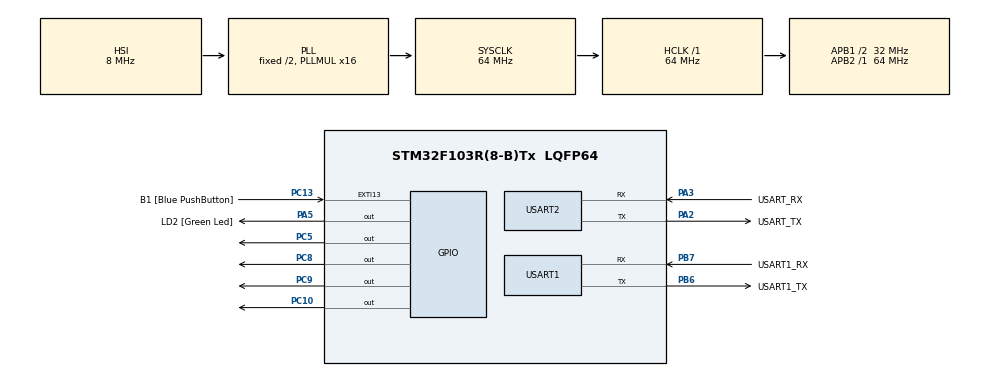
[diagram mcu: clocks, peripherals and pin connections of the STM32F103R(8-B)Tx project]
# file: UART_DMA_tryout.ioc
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Dma.Request0=USART2_RX
Dma.Request1=USART2_TX
Dma.Request2=USART1_RX
Dma.Request3=USART1_TX
Dma.USART1_RX.2.Direction=DMA_PERIPH_TO_MEMORY
Dma.USART1_RX.2.Instance=DMA1_Channel5
Dma.USART1_RX.2.MemDataAlignment=DMA_MDATAALIGN_BYTE
Dma.USART1_RX.2.MemInc=DMA_MINC_ENABLE
Dma.USART1_RX.2.Mode=DMA_NORMAL
Dma.USART1_RX.2.PeriphDataAlignment=DMA_PDATAALIGN_BYTE
Dma.USART1_RX.2.PeriphInc=DMA_PINC_DISABLE
Dma.USART1_RX.2.Priority=DMA_PRIORITY_LOW
Dma.USART1_TX.3.Direction=DMA_MEMORY_TO_PERIPH
Dma.USART1_TX.3.Instance=DMA1_Channel4
Dma.USART1_TX.3.MemDataAlignment=DMA_MDATAALIGN_BYTE
Dma.USART1_TX.3.MemInc=DMA_MINC_ENABLE
Dma.USART1_TX.3.Mode=DMA_NORMAL
Dma.USART1_TX.3.PeriphDataAlignment=DMA_PDATAALIGN_BYTE
Dma.USART1_TX.3.PeriphInc=DMA_PINC_DISABLE
Dma.USART1_TX.3.Priority=DMA_PRIORITY_LOW
Dma.USART2_RX.0.Direction=DMA_PERIPH_TO_MEMORY
Dma.USART2_RX.0.Instance=DMA1_Channel6
Dma.USART2_RX.0.MemDataAlignment=DMA_MDATAALIGN_BYTE
Dma.USART2_RX.0.MemInc=DMA_MINC_ENABLE
Dma.USART2_RX.0.Mode=DMA_NORMAL
Dma.USART2_RX.0.PeriphDataAlignment=DMA_PDATAALIGN_BYTE
Dma.USART2_RX.0.PeriphInc=DMA_PINC_DISABLE
Dma.USART2_RX.0.Priority=DMA_PRIORITY_LOW
Dma.USART2_TX.1.Direction=DMA_MEMORY_TO_PERIPH
Dma.USART2_TX.1.Instance=DMA1_Channel7
Dma.USART2_TX.1.MemDataAlignment=DMA_MDATAALIGN_BYTE
Dma.USART2_TX.1.MemInc=DMA_MINC_ENABLE
Dma.USART2_TX.1.Mode=DMA_NORMAL
Dma.USART2_TX.1.PeriphDataAlignment=DMA_PDATAALIGN_BYTE
Dma.USART2_TX.1.PeriphInc=DMA_PINC_DISABLE
Dma.USART2_TX.1.Priority=DMA_PRIORITY_LOW
Mcu.Family=STM32F1
Mcu.Name=STM32F103R(8-B)Tx
Mcu.Package=LQFP64
NVIC.DMA1_Channel4_IRQn=true\:0\:0\:false\:false\:true\:false
NVIC.DMA1_Channel5_IRQn=true\:0\:0\:false\:false\:true\:false
NVIC.DMA1_Channel6_IRQn=true\:0\:0\:false\:false\:true\:false
NVIC.DMA1_Channel7_IRQn=true\:0\:0\:false\:false\:true\:false
NVIC.PriorityGroup=NVIC_PRIORITYGROUP_4
NVIC.USART1_IRQn=true\:0\:0\:false\:false\:true\:true
NVIC.USART2_IRQn=true\:0\:0\:false\:false\:true\:true
PA13.GPIO_Label=TMS
PA13.Mode=Serial_Wire
PA13.Signal=SYS_JTMS-SWDIO
PA14.GPIO_Label=TCK
PA14.Mode=Serial_Wire
PA14.Signal=SYS_JTCK-SWCLK
PA2.GPIO_Label=USART_TX
PA2.GPIO_Mode=GPIO_MODE_AF_PP
PA2.GPIO_PuPd=GPIO_NOPULL
PA2.GPIO_Speed=GPIO_SPEED_FREQ_LOW
PA2.Mode=Asynchronous
PA2.Signal=USART2_TX
PA3.GPIO_Label=USART_RX
PA3.GPIO_Mode=GPIO_MODE_AF_PP
PA3.GPIO_PuPd=GPIO_NOPULL
PA3.GPIO_Speed=GPIO_SPEED_FREQ_LOW
PA3.Mode=Asynchronous
PA3.Signal=USART2_RX
PA5.GPIO_Label=LD2 [Green Led]
PA5.GPIO_ModeDefaultOutputPP=GPIO_MODE_OUTPUT_PP
PA5.GPIO_PuPd=GPIO_NOPULL
PA5.GPIO_Speed=GPIO_SPEED_FREQ_LOW
PA5.Signal=GPIO_Output
PB3.GPIO_Label=SWO
PB3.Signal=SYS_JTDO-TRACESWO
PB6.GPIO_Label=USART1_TX
PB6.GPIO_Speed=GPIO_SPEED_FREQ_LOW
PB6.Mode=Asynchronous
PB6.Signal=USART1_TX
PB7.GPIO_Label=USART1_RX
PB7.Mode=Asynchronous
PB7.Signal=USART1_RX
PC10.Signal=GPIO_Output
PC13-TAMPER-RTC.GPIO_Label=B1 [Blue PushButton]
PC13-TAMPER-RTC.GPIO_PuPd=GPIO_NOPULL
PC13-TAMPER-RTC.Signal=GPXTI13
PC14-OSC32_IN.Mode=LSE-External-Oscillator
PC14-OSC32_IN.Signal=RCC_OSC32_IN
PC15-OSC32_OUT.Mode=LSE-External-Oscillator
PC15-OSC32_OUT.Signal=RCC_OSC32_OUT
PC5.Signal=GPIO_Output
PC8.Signal=GPIO_Output
PC9.Signal=GPIO_Output
PD0-OSC_IN.Mode=HSE-External-Clock-Source
PD0-OSC_IN.Signal=RCC_OSC_IN
PD1-OSC_OUT.Mode=HSE-External-Clock-Source
PD1-OSC_OUT.Signal=RCC_OSC_OUT
ProjectManager.HeapSize=0x200
ProjectManager.StackSize=0x400
ProjectManager.TargetToolchain=Makefile
RCC.AHBFreq_Value=64000000
RCC.APB1CLKDivider=RCC_HCLK_DIV2
RCC.APB1Freq_Value=32000000
RCC.APB1TimFreq_Value=64000000
RCC.APB2Freq_Value=64000000
RCC.APB2TimFreq_Value=64000000
RCC.HCLKFreq_Value=64000000
RCC.PLLMUL=RCC_PLL_MUL16
RCC.RTCClockSelection=RCC_RTCCLKSOURCE_LSE
RCC.SYSCLKFreq_VALUE=64000000
RCC.SYSCLKSource=RCC_SYSCLKSOURCE_PLLCLK
RCC.USBFreq_Value=64000000
USART1.VirtualMode=VM_ASYNC
USART2.VirtualMode=VM_ASYNC
board=NUCLEO-F103RB

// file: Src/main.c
/**
  ******************************************************************************
  * @file           : main.c
  * @brief          : Main program body
  ******************************************************************************
  ** This notice applies to any and all portions of this file
  * that are not between comment pairs USER CODE BEGIN and
  * USER CODE END. Other portions of this file, whether
  * inserted by the user or by software development tools
  * are owned by their respective copyright owners.
  *
  * COPYRIGHT(c) 2019 STMicroelectronics
  *
  * Redistribution and use in source and binary forms, with or without modification,
  * are permitted provided that the following conditions are met:
  *   1. Redistributions of source code must retain the above copyright notice,
  *      this list of conditions and the following disclaimer.
  *   2. Redistributions in binary form must reproduce the above copyright notice,
  *      this list of conditions and the following disclaimer in the documentation
  *      and/or other materials provided with the distribution.
  *   3. Neither the name of STMicroelectronics nor the names of its contributors
  *      may be used to endorse or promote products derived from this software
  *      without specific prior written permission.
  *
  * THIS SOFTWARE IS PROVIDED BY THE COPYRIGHT HOLDERS AND CONTRIBUTORS "AS IS"
  * AND ANY EXPRESS OR IMPLIED WARRANTIES, INCLUDING, BUT NOT LIMITED TO, THE
  * IMPLIED WARRANTIES OF MERCHANTABILITY AND FITNESS FOR A PARTICULAR PURPOSE ARE
  * DISCLAIMED. IN NO EVENT SHALL THE COPYRIGHT HOLDER OR CONTRIBUTORS BE LIABLE
  * FOR ANY DIRECT, INDIRECT, INCIDENTAL, SPECIAL, EXEMPLARY, OR CONSEQUENTIAL
  * DAMAGES (INCLUDING, BUT NOT LIMITED TO, PROCUREMENT OF SUBSTITUTE GOODS OR
  * SERVICES; LOSS OF USE, DATA, OR PROFITS; OR BUSINESS INTERRUPTION) HOWEVER
  * CAUSED AND ON ANY THEORY OF LIABILITY, WHETHER IN CONTRACT, STRICT LIABILITY,
  * OR TORT (INCLUDING NEGLIGENCE OR OTHERWISE) ARISING IN ANY WAY OUT OF THE USE
  * OF THIS SOFTWARE, EVEN IF ADVISED OF THE POSSIBILITY OF SUCH DAMAGE.
  *
  ******************************************************************************
  */
#include "main.h"
#include "stm32f1xx_hal.h"
#include "dma.h"
#include "usart.h"
#include "gpio.h"

/* USER CODE BEGIN Includes */
uint8_t data[3];
/* USER CODE END Includes */

/* USER CODE BEGIN PV */
/* Private variables ---------------------------------------------------------*/
uint8_t led_on_text[5]="AAAAA";
uint8_t led_off_text[5]="BBBBB";
/* USER CODE END PV */

void SystemClock_Config(void);

/* USER CODE BEGIN PFP */
/* Private function prototypes -----------------------------------------------*/

/* USER CODE END PFP */

int main(void)
{

  /* MCU Configuration----------------------------------------------------------*/

  /* Reset of all peripherals, Initializes the Flash interface and the Systick. */
  HAL_Init();

  /* Configure the system clock */
  SystemClock_Config();

  /* Initialize all configured peripherals */
  MX_GPIO_Init();
  MX_DMA_Init();
  MX_USART2_UART_Init();
  MX_USART1_UART_Init();
  /* USER CODE BEGIN 2 */
  HAL_UART_Receive_DMA(&huart2, data, 3);
  HAL_UART_Receive_DMA(&huart1, data, 3);
  /* USER CODE END 2 */

  /* Infinite loop */
  while (1)
  {

  /* USER CODE BEGIN 3 */
    HAL_GPIO_TogglePin(LD2_GPIO_Port, LD2_Pin);
    HAL_Delay(100);

    HAL_UART_Transmit_DMA(&huart2, led_on_text, 5);
    HAL_Delay(100);
    HAL_UART_Transmit_DMA(&huart2, led_off_text, 5);
    HAL_Delay(100);

    HAL_UART_Transmit_DMA(&huart1, led_off_text, 5);
    HAL_Delay(100);
    HAL_UART_Transmit_DMA(&huart1, led_on_text, 5);
    HAL_Delay(100);

  }
  /* USER CODE END 3 */

}

void SystemClock_Config(void)
{

  RCC_OscInitTypeDef RCC_OscInitStruct;
  RCC_ClkInitTypeDef RCC_ClkInitStruct;

    /**Initializes the CPU, AHB and APB busses clocks
    */
  RCC_OscInitStruct.OscillatorType = RCC_OSCILLATORTYPE_HSI;
  RCC_OscInitStruct.HSIState = RCC_HSI_ON;
  RCC_OscInitStruct.HSICalibrationValue = 16;
  RCC_OscInitStruct.PLL.PLLState = RCC_PLL_ON;
  RCC_OscInitStruct.PLL.PLLSource = RCC_PLLSOURCE_HSI_DIV2;
  RCC_OscInitStruct.PLL.PLLMUL = RCC_PLL_MUL16;
  if (HAL_RCC_OscConfig(&RCC_OscInitStruct) != HAL_OK)
  {
    _Error_Handler(__FILE__, __LINE__);
  }

    /**Initializes the CPU, AHB and APB busses clocks
    */
  RCC_ClkInitStruct.ClockType = RCC_CLOCKTYPE_HCLK|RCC_CLOCKTYPE_SYSCLK
                              |RCC_CLOCKTYPE_PCLK1|RCC_CLOCKTYPE_PCLK2;
  RCC_ClkInitStruct.SYSCLKSource = RCC_SYSCLKSOURCE_PLLCLK;
  RCC_ClkInitStruct.AHBCLKDivider = RCC_SYSCLK_DIV1;
  RCC_ClkInitStruct.APB1CLKDivider = RCC_HCLK_DIV2;
  RCC_ClkInitStruct.APB2CLKDivider = RCC_HCLK_DIV1;

  if (HAL_RCC_ClockConfig(&RCC_ClkInitStruct, FLASH_LATENCY_2) != HAL_OK)
  {
    _Error_Handler(__FILE__, __LINE__);
  }

    /**Configure the Systick interrupt time
    */
  HAL_SYSTICK_Config(HAL_RCC_GetHCLKFreq()/1000);

    /**Configure the Systick
    */
  HAL_SYSTICK_CLKSourceConfig(SYSTICK_CLKSOURCE_HCLK);

  /* SysTick_IRQn interrupt configuration */
  HAL_NVIC_SetPriority(SysTick_IRQn, 0, 0);
}

void _Error_Handler(char *file, int line)
{
  while(1)
  {
  }
}

/************************ (C) COPYRIGHT STMicroelectronics *****END OF FILE****/
